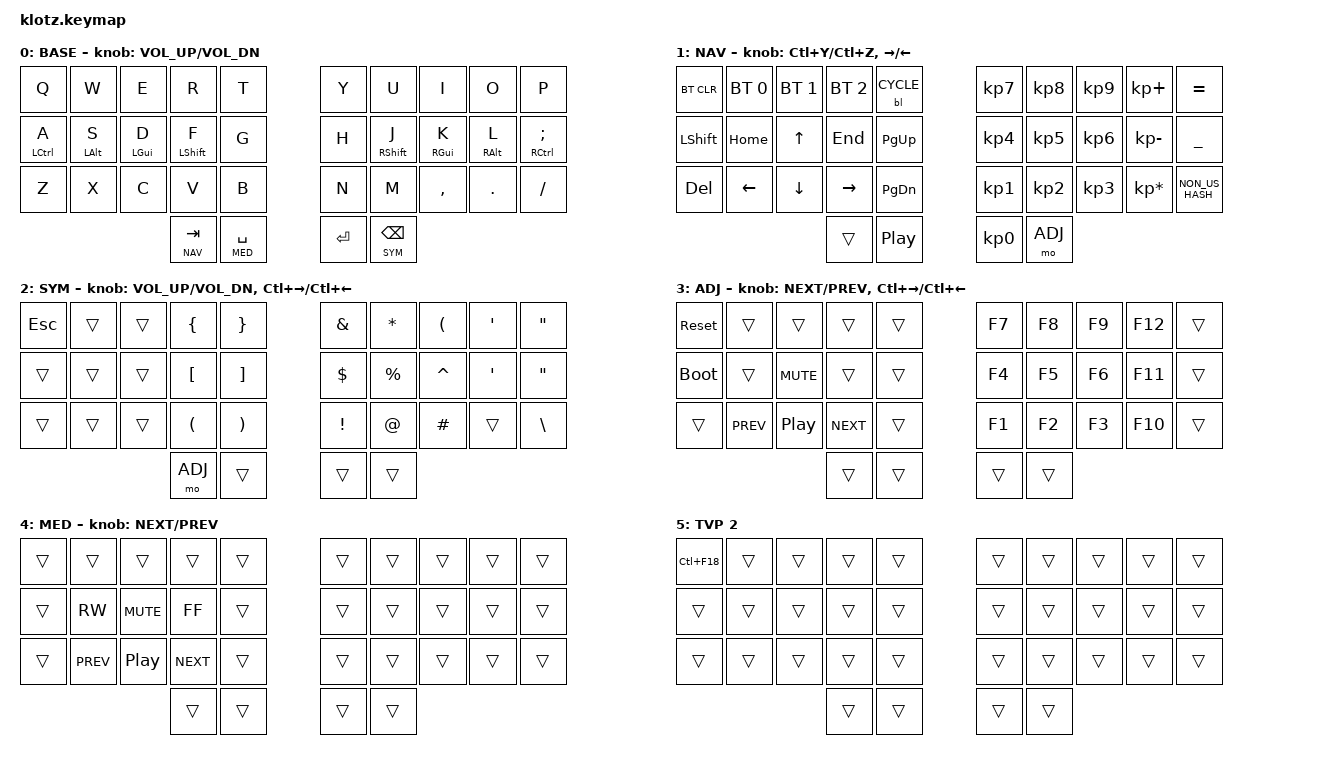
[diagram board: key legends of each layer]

//                                      █         ██        ▄▀▀▀▀▀▀▀▀▀▀█▀▀▀▀▀▀▀▀█▀▀▀▀▀▀▀▀▀▀█
//                                      █        █ █      ▄▀            ▀▄      █         █
//                                      █       █  █    ▄▀                ▀▄    █        █
//                                      █      █   █   █                    █   █       █
//                                      █     █    █   █                    █   █      █
//                                      █    █     █   █                    █   █  ▀▀▀█▀▀▀▀
//                                      █   █ █    █   █                    █   █    █
//                                      █  █   █   █   █                    █   █   █
//                                      █ █     █  █    ▀▄                ▄▀    █  █
//                                      ██       █ █      ▀▄            ▄▀      █ █
//                                      █         ██▄▄▄▄▄▄▄▄█▄▄▄▄▄▄▄▄▄▄▀        ██▄▄▄▄▄▄▄▄▄▄
//
// ▄▄▄▄▄▄▄▄▄▄▄▄▄▄▄▄▄▄▄▄▄▄▄▄▄▄▄▄▄▄▄▄▄▄▄▄▄▄▄▄▄▄▄▄▄▄▄▄▄▄▄▄▄▄▄▄▄▄▄▄▄▄▄▄▄▄▄▄▄▄▄▄▄▄▄▄▄▄▄▄▄▄▄▄▄▄▄▄▄▄▄▄▄▄▄▄▄▄▄▄▄▄▄▄▄▄▄▄▄▄▄▄▄▄▄▄▄▄▄▄▄▄▄▄▄
       

#include <behaviors.dtsi>
#include <dt-bindings/zmk/keys.h>
#include <dt-bindings/zmk/bt.h>
#include <dt-bindings/zmk/outputs.h>
#include <dt-bindings/zmk/backlight.h>

#define BASE 0
#define NAV  1
#define SYM  2
#define ADJ  3
#define MED  4
#define TVP2 5

&mt {
  quick-tap-ms = <100>;
  global-quick-tap;
  flavor = "tap-preferred";
  tapping-term-ms = <170>;
};

/ {
     combos {
            compatible = "zmk,combos";
            combo_esc {
                timeout-ms = <50>;
                key-positions = <0 1>;
                bindings = <&kp ESC>;
            };
            combo_tvp {
                timeout-ms = <100>;
                key-positions = <11 12 13>;
                bindings = <&tog TVP2>;
            };
    };

    macros {
        gif: gif {
            label = "giphy";
            compatible = "zmk,behavior-macro";
            #binding-cells = <0>;
            bindings
                = <&macro_press &kp LSHFT>
                , <&macro_tap &kp N2>
                , <&macro_release &kp LSHFT>
                , <&macro_tap &kp G &kp I &kp F>
                ;
        };
    };

        keymap {
                compatible = "zmk,keymap";
// ▄▄▄▄▄▄▄▄▄▄▄▄▄▄▄▄▄▄▄▄▄▄▄▄▄▄▄▄▄▄▄▄▄▄▄▄▄▄▄▄▄▄▄▄▄▄▄▄▄▄▄▄▄▄▄▄▄▄▄▄▄▄▄▄▄▄▄▄▄▄▄▄▄▄▄▄▄▄▄▄▄▄▄▄▄▄▄▄▄▄▄▄▄▄▄▄▄▄▄▄▄▄▄▄▄▄▄▄▄▄▄▄▄▄▄▄▄▄▄▄▄▄▄▄▄


                base_layer {
// ┏━━━━━━━━━━━━━━━━━━━━━━━━━━━━━━━━━━━━━━━┓
label= "BASE"                              ;
// ┗━━━━━━━━━━━━━━━━━━━━━━━━━━━━━━━━━━━━━━━┛
// ┏━━━━━━━━━━━┳━━━━━━━━━━━┳━━━━━━━━━━━┳━━━━━━━━━━━┳━━━━━━━━━━━┓   ┏━━━━━━━━━━━┳━━━━━━━━━━━┳━━━━━━━━━━━┳━━━━━━━━━━━┳━━━━━━━━━━━┓
// ┃     Q     ┃     W     ┃     E     ┃     R     ┃     T     ┃   ┃     Y     ┃     U     ┃     I     ┃     O     ┃     P     ┃
// ┣━━━━━━━━━━━╋━━━━━━━━━━━╋━━━━━━━━━━━╋━━━━━━━━━━━╋━━━━━━━━━━━┫   ┣━━━━━━━━━━━╋━━━━━━━━━━━╋━━━━━━━━━━━╋━━━━━━━━━━━╋━━━━━━━━━━━┫
// ┃     A     ┃     S     ┃     D     ┃     F     ┃     G     ┃   ┃     H     ┃     J     ┃     K     ┃     L     ┃     ;     ┃
// ┣━━━━━━━━━━━╋━━━━━━━━━━━╋━━━━━━━━━━━╋━━━━━━━━━━━╋━━━━━━━━━━━┫   ┣━━━━━━━━━━━╋━━━━━━━━━━━╋━━━━━━━━━━━╋━━━━━━━━━━━╋━━━━━━━━━━━┫
// ┃     Z     ┃     X     ┃     C     ┃     V     ┃     B     ┃   ┃     N     ┃     M     ┃     ,     ┃     .     ┃     /     ┃
// ┗━━━━━━━━━━━┻━━━━━━━━━━━┻━━━━━━━━━━━╋━━━━━━━━━━━╋━━━━━━━━━━━┫   ┣━━━━━━━━━━━╋━━━━━━━━━━━╋━━━━━━━━━━━┻━━━━━━━━━━━┻━━━━━━━━━━━┛
//                                     ┃    TAB    ┃    SPC    ┃   ┃   ENTER   ┃   BSPC    ┃
//                                     ┗━━━━━━━━━━━┻━━━━━━━━━━━┛   ┗━━━━━━━━━━━┻━━━━━━━━━━━┛
 bindings = <
// ╷           ╷           ╷           ╷           ╷           ╷   ╷           ╷           ╷           ╷           ╷           ╷

    &kp Q       &kp W       &kp E       &kp R       &kp T           &kp Y       &kp U       &kp I       &kp O       &kp P
    &mt LCTRL A &mt LALT S  &mt LGUI D  &mt LSHFT F &kp G           &kp H       &mt RSHFT J &mt RGUI K  &mt RALT L  &mt RCTRL SEMI
    &kp Z       &kp X       &kp C       &kp V       &kp B           &kp N       &kp M       &kp COMMA   &kp DOT     &kp FSLH
                                        &lt NAV TAB &lt MED SPACE       &kp RET &lt SYM BSPC    
                        >;
            sensor-bindings = <&inc_dec_kp C_VOL_UP C_VOL_DN>;
                };

// ▄▄▄▄▄▄▄▄▄▄▄▄▄▄▄▄▄▄▄▄▄▄▄▄▄▄▄▄▄▄▄▄▄▄▄▄▄▄▄▄▄▄▄▄▄▄▄▄▄▄▄▄▄▄▄▄▄▄▄▄▄▄▄▄▄▄▄▄▄▄▄▄▄▄▄▄▄▄▄▄▄▄▄▄▄▄▄▄▄▄▄▄▄▄▄▄▄▄▄▄▄▄▄▄▄▄▄▄▄▄▄▄▄▄▄▄▄▄▄▄▄▄▄▄▄


                nav_layer {
// ┏━━━━━━━━━━━━━━━━━━━━━━━━━━━━━━━━━━━━━━━┓
label= "NAV"                              ;
// ┗━━━━━━━━━━━━━━━━━━━━━━━━━━━━━━━━━━━━━━━┛
// ┏━━━━━━━━━━━┳━━━━━━━━━━━┳━━━━━━━━━━━┳━━━━━━━━━━━┳━━━━━━━━━━━┓   ┏━━━━━━━━━━━┳━━━━━━━━━━━┳━━━━━━━━━━━┳━━━━━━━━━━━┳━━━━━━━━━━━┓
// ┃  BT CLR   ┃  BT 1     ┃   BT 2    ┃   BT 3    ┃ LED CYCLE ┃   ┃     7     ┃     8     ┃     9     ┃     +     ┃     =     ┃
// ┣━━━━━━━━━━━╋━━━━━━━━━━━╋━━━━━━━━━━━╋━━━━━━━━━━━╋━━━━━━━━━━━┫   ┣━━━━━━━━━━━╋━━━━━━━━━━━╋━━━━━━━━━━━╋━━━━━━━━━━━╋━━━━━━━━━━━┫
// ┃   SHIFT   ┃   HOME    ┃     UP    ┃    END    ┃   PG UP   ┃   ┃     4     ┃     5     ┃     6     ┃     -     ┃     _     ┃
// ┣━━━━━━━━━━━╋━━━━━━━━━━━╋━━━━━━━━━━━╋━━━━━━━━━━━╋━━━━━━━━━━━┫   ┣━━━━━━━━━━━╋━━━━━━━━━━━╋━━━━━━━━━━━╋━━━━━━━━━━━╋━━━━━━━━━━━┫
// ┃    DEL    ┃   LEFT    ┃   DOWN    ┃   RIGHT   ┃  PG DOWN  ┃   ┃     1     ┃     2     ┃     3     ┃     *     ┃     #     ┃
// ┗━━━━━━━━━━━┻━━━━━━━━━━━┻━━━━━━━━━━━╋━━━━━━━━━━━╋━━━━━━━━━━━┫   ┣━━━━━━━━━━━╋━━━━━━━━━━━╋━━━━━━━━━━━┻━━━━━━━━━━━┻━━━━━━━━━━━┛
//                                     ┃           ┃PLAY/PAUSE ┃   ┃    0      ┃     ADJ   ┃  
//                                     ┗━━━━━━━━━━━┻━━━━━━━━━━━┛   ┗━━━━━━━━━━━┻━━━━━━━━━━━┛
 bindings = <
// ╷            ╷            ╷           ╷            ╷           ╷    ╷           ╷           ╷           ╷               ╷              ╷

    &bt BT_CLR  &bt BT_SEL 0 &bt BT_SEL 1 &bt BT_SEL 2 &bl BL_CYCLE     &kp KP_N7   &kp KP_N8   &kp KP_N9   &kp KP_PLUS     &kp EQUAL
    &kp LSHFT   &kp HOME     &kp UP       &kp END      &kp PG_UP        &kp KP_N4   &kp KP_N5   &kp KP_N6   &kp KP_MINUS    &kp UNDER
    &kp DEL     &kp LEFT     &kp DOWN     &kp RIGHT    &kp PG_DN        &kp KP_N1   &kp KP_N2   &kp KP_N3   &kp KP_MULTIPLY &kp NON_US_HASH
                                        &trans      &kp C_PP          &kp KP_N0   &mo ADJ     
                        >;
            sensor-bindings = <&inc_dec_kp LC(Y) LC(Z) &inc_dec_kp RIGHT LEFT>;
                };

// ▄▄▄▄▄▄▄▄▄▄▄▄▄▄▄▄▄▄▄▄▄▄▄▄▄▄▄▄▄▄▄▄▄▄▄▄▄▄▄▄▄▄▄▄▄▄▄▄▄▄▄▄▄▄▄▄▄▄▄▄▄▄▄▄▄▄▄▄▄▄▄▄▄▄▄▄▄▄▄▄▄▄▄▄▄▄▄▄▄▄▄▄▄▄▄▄▄▄▄▄▄▄▄▄▄▄▄▄▄▄▄▄▄▄▄▄▄▄▄▄▄▄▄▄▄


                sym_layer {
// ┏━━━━━━━━━━━━━━━━━━━━━━━━━━━━━━━━━━━━━━━┓
label= "SYM"                               ;
// ┗━━━━━━━━━━━━━━━━━━━━━━━━━━━━━━━━━━━━━━━┛
// ┏━━━━━━━━━━━┳━━━━━━━━━━━┳━━━━━━━━━━━┳━━━━━━━━━━━┳━━━━━━━━━━━┓   ┏━━━━━━━━━━━┳━━━━━━━━━━━┳━━━━━━━━━━━┳━━━━━━━━━━━┳━━━━━━━━━━━┓
// ┃    ESC    ┃           ┃           ┃     {     ┃     }     ┃   ┃     &     ┃     *     ┃     (     ┃     '     ┃     "     ┃
// ┣━━━━━━━━━━━╋━━━━━━━━━━━╋━━━━━━━━━━━╋━━━━━━━━━━━╋━━━━━━━━━━━┫   ┣━━━━━━━━━━━╋━━━━━━━━━━━╋━━━━━━━━━━━╋━━━━━━━━━━━╋━━━━━━━━━━━┫
// ┃           ┃           ┃           ┃     [     ┃     ]     ┃   ┃     $     ┃     %     ┃      ^    ┃          ┃           ┃
// ┣━━━━━━━━━━━╋━━━━━━━━━━━╋━━━━━━━━━━━╋━━━━━━━━━━━╋━━━━━━━━━━━┫   ┣━━━━━━━━━━━╋━━━━━━━━━━━╋━━━━━━━━━━━╋━━━━━━━━━━━╋━━━━━━━━━━━┫
// ┃           ┃           ┃           ┃     (     ┃     )     ┃   ┃     !     ┃     @     ┃      £    ┃           ┃     \     ┃
// ┗━━━━━━━━━━━┻━━━━━━━━━━━┻━━━━━━━━━━━╋━━━━━━━━━━━╋━━━━━━━━━━━┫   ┣━━━━━━━━━━━╋━━━━━━━━━━━╋━━━━━━━━━━━┻━━━━━━━━━━━┻━━━━━━━━━━━┛
//                                     ┃   ADJUST  ┃           ┃   ┃           ┃           ┃   
//                                     ┗━━━━━━━━━━━┻━━━━━━━━━━━┛   ┗━━━━━━━━━━━┻━━━━━━━━━━━┛
 bindings = <
// ╷           ╷           ╷           ╷           ╷           ╷   ╷           ╷           ╷           ╷           ╷           ╷

   &kp ESC     &trans      &trans      &kp LBRC    &kp RBRC        &kp AMPS    &kp STAR    &kp LPAR    &kp SQT     &kp DQT       
   &trans      &trans      &trans      &kp LBKT    &kp RBKT        &kp DLLR    &kp PRCNT   &kp CARET   &kp SQT     &kp DQT 
   &trans      &trans      &trans      &kp LPAR    &kp RPAR        &kp EXCL    &kp AT      &kp HASH    &trans      &kp BSLH      
                                       &mo ADJ     &trans          &trans      &trans
                        >;
                sensor-bindings = <&inc_dec_kp C_VOL_UP C_VOL_DN &inc_dec_kp LC(RIGHT) LC(LEFT)>;
                };

// ▄▄▄▄▄▄▄▄▄▄▄▄▄▄▄▄▄▄▄▄▄▄▄▄▄▄▄▄▄▄▄▄▄▄▄▄▄▄▄▄▄▄▄▄▄▄▄▄▄▄▄▄▄▄▄▄▄▄▄▄▄▄▄▄▄▄▄▄▄▄▄▄▄▄▄▄▄▄▄▄▄▄▄▄▄▄▄▄▄▄▄▄▄▄▄▄▄▄▄▄▄▄▄▄▄▄▄▄▄▄▄▄▄▄▄▄▄▄▄▄▄▄▄▄▄


                adjust_layer {
// ┏━━━━━━━━━━━━━━━━━━━━━━━━━━━━━━━━━━━━━━━┓
label= "ADJ"                               ;
// ┗━━━━━━━━━━━━━━━━━━━━━━━━━━━━━━━━━━━━━━━┛
// ┏━━━━━━━━━━━┳━━━━━━━━━━━┳━━━━━━━━━━━┳━━━━━━━━━━━┳━━━━━━━━━━━┓   ┏━━━━━━━━━━━┳━━━━━━━━━━━┳━━━━━━━━━━━┳━━━━━━━━━━━┳━━━━━━━━━━━┓
// ┃   RESET   ┃           ┃           ┃           ┃           ┃   ┃    F7     ┃    F8     ┃    F9     ┃    F12    ┃           ┃
// ┣━━━━━━━━━━━╋━━━━━━━━━━━╋━━━━━━━━━━━╋━━━━━━━━━━━╋━━━━━━━━━━━┫   ┣━━━━━━━━━━━╋━━━━━━━━━━━╋━━━━━━━━━━━╋━━━━━━━━━━━╋━━━━━━━━━━━┫
// ┃ BOOTLOAD  ┃           ┃   MUTE    ┃           ┃           ┃   ┃    F4     ┃    F5     ┃    F6     ┃    F11    ┃           ┃
// ┣━━━━━━━━━━━╋━━━━━━━━━━━╋━━━━━━━━━━━╋━━━━━━━━━━━╋━━━━━━━━━━━┫   ┣━━━━━━━━━━━╋━━━━━━━━━━━╋━━━━━━━━━━━╋━━━━━━━━━━━╋━━━━━━━━━━━┫
// ┃           ┃  PREVIOUS ┃ PLAYPAUSE ┃   NEXT    ┃           ┃   ┃    F1     ┃    F2     ┃    F3     ┃    F10    ┃           ┃
// ┗━━━━━━━━━━━┻━━━━━━━━━━━┻━━━━━━━━━━━╋━━━━━━━━━━━╋━━━━━━━━━━━┫   ┣━━━━━━━━━━━╋━━━━━━━━━━━╋━━━━━━━━━━━┻━━━━━━━━━━━┻━━━━━━━━━━━┛
//                                     ┃           ┃           ┃   ┃           ┃           ┃
//                                     ┗━━━━━━━━━━━┻━━━━━━━━━━━┛   ┗━━━━━━━━━━━┻━━━━━━━━━━━┛
 bindings = <
// ╷            ╷          ╷          ╷          ╷           ╷   ╷           ╷           ╷           ╷           ╷           ╷

    &sys_reset  &trans     &trans     &trans      &trans          &kp F7      &kp F8      &kp F9      &kp F12     &trans
    &bootloader &trans     &kp C_MUTE &trans      &trans          &kp F4      &kp F5      &kp F6      &kp F11     &trans
    &trans      &kp C_PREV &kp C_PP   &kp C_NEXT  &trans          &kp F1      &kp F2      &kp F3      &kp F10     &trans     
                                      &trans      &trans          &trans      &trans
                        >;
            sensor-bindings = <&inc_dec_kp C_NEXT C_PREV &inc_dec_kp LC(RIGHT) LC(LEFT)>;
                };

// ▄▄▄▄▄▄▄▄▄▄▄▄▄▄▄▄▄▄▄▄▄▄▄▄▄▄▄▄▄▄▄▄▄▄▄▄▄▄▄▄▄▄▄▄▄▄▄▄▄▄▄▄▄▄▄▄▄▄▄▄▄▄▄▄▄▄▄▄▄▄▄▄▄▄▄▄▄▄▄▄▄▄▄▄▄▄▄▄▄▄▄▄▄▄▄▄▄▄▄▄▄▄▄▄▄▄▄▄▄▄▄▄▄▄▄▄▄▄▄▄▄▄▄▄▄



                media_layer {
// ┏━━━━━━━━━━━━━━━━━━━━━━━━━━━━━━━━━━━━━━━┓
label= "MED"                               ;
// ┗━━━━━━━━━━━━━━━━━━━━━━━━━━━━━━━━━━━━━━━┛
// ┏━━━━━━━━━━━┳━━━━━━━━━━━┳━━━━━━━━━━━┳━━━━━━━━━━━┳━━━━━━━━━━━┓   ┏━━━━━━━━━━━┳━━━━━━━━━━━┳━━━━━━━━━━━┳━━━━━━━━━━━┳━━━━━━━━━━━┓
// ┃           ┃           ┃           ┃           ┃           ┃   ┃           ┃           ┃           ┃           ┃           ┃
// ┣━━━━━━━━━━━╋━━━━━━━━━━━╋━━━━━━━━━━━╋━━━━━━━━━━━╋━━━━━━━━━━━┫   ┣━━━━━━━━━━━╋━━━━━━━━━━━╋━━━━━━━━━━━╋━━━━━━━━━━━╋━━━━━━━━━━━┫
// ┃           ┃  REWIND   ┃   MUTE    ┃ F FORWARD ┃           ┃   ┃           ┃           ┃           ┃           ┃           ┃
// ┣━━━━━━━━━━━╋━━━━━━━━━━━╋━━━━━━━━━━━╋━━━━━━━━━━━╋━━━━━━━━━━━┫   ┣━━━━━━━━━━━╋━━━━━━━━━━━╋━━━━━━━━━━━╋━━━━━━━━━━━╋━━━━━━━━━━━┫
// ┃           ┃  PREVIOUS ┃ PLAYPAUSE ┃   NEXT    ┃           ┃   ┃           ┃           ┃           ┃           ┃           ┃
// ┗━━━━━━━━━━━┻━━━━━━━━━━━┻━━━━━━━━━━━╋━━━━━━━━━━━╋━━━━━━━━━━━┫   ┣━━━━━━━━━━━╋━━━━━━━━━━━╋━━━━━━━━━━━┻━━━━━━━━━━━┻━━━━━━━━━━━┛
//                                     ┃           ┃           ┃   ┃           ┃           ┃
//                                     ┗━━━━━━━━━━━┻━━━━━━━━━━━┛   ┗━━━━━━━━━━━┻━━━━━━━━━━━┛
 bindings = <
// ╷            ╷          ╷          ╷          ╷           ╷   ╷           ╷           ╷           ╷           ╷           ╷

    &trans      &trans     &trans     &trans      &trans          &trans     &trans      &trans      &trans       &trans
    &trans      &kp C_RW   &kp C_MUTE &kp C_FF    &trans          &trans     &trans      &trans      &trans       &trans
    &trans      &kp C_PREV &kp C_PP   &kp C_NEXT  &trans          &trans     &trans      &trans      &trans       &trans     
                                      &trans      &trans          &trans     &trans
                        >;
            sensor-bindings = <&inc_dec_kp C_NEXT C_PREV>;
                };

// ▄▄▄▄▄▄▄▄▄▄▄▄▄▄▄▄▄▄▄▄▄▄▄▄▄▄▄▄▄▄▄▄▄▄▄▄▄▄▄▄▄▄▄▄▄▄▄▄▄▄▄▄▄▄▄▄▄▄▄▄▄▄▄▄▄▄▄▄▄▄▄▄▄▄▄▄▄▄▄▄▄▄▄▄▄▄▄▄▄▄▄▄▄▄▄▄▄▄▄▄▄▄▄▄▄▄▄▄▄▄▄▄▄▄▄▄▄▄▄▄▄▄▄▄▄


                tvp2_layer {
// ┏━━━━━━━━━━━━━━━━━━━━━━━━━━━━━━━━━━━━━━━┓
label= "TVP 2"                             ;
// ┗━━━━━━━━━━━━━━━━━━━━━━━━━━━━━━━━━━━━━━━┛
// ┏━━━━━━━━━━━┳━━━━━━━━━━━┳━━━━━━━━━━━┳━━━━━━━━━━━┳━━━━━━━━━━━┓   ┏━━━━━━━━━━━┳━━━━━━━━━━━┳━━━━━━━━━━━┳━━━━━━━━━━━┳━━━━━━━━━━━┓
// ┃ SOLO      ┃           ┃           ┃           ┃           ┃   ┃           ┃           ┃           ┃           ┃           ┃
// ┣━━━━━━━━━━━╋━━━━━━━━━━━╋━━━━━━━━━━━╋━━━━━━━━━━━╋━━━━━━━━━━━┫   ┣━━━━━━━━━━━╋━━━━━━━━━━━╋━━━━━━━━━━━╋━━━━━━━━━━━╋━━━━━━━━━━━┫
// ┃           ┃           ┃           ┃           ┃           ┃   ┃           ┃           ┃           ┃           ┃           ┃
// ┣━━━━━━━━━━━╋━━━━━━━━━━━╋━━━━━━━━━━━╋━━━━━━━━━━━╋━━━━━━━━━━━┫   ┣━━━━━━━━━━━╋━━━━━━━━━━━╋━━━━━━━━━━━╋━━━━━━━━━━━╋━━━━━━━━━━━┫
// ┃           ┃           ┃           ┃           ┃           ┃   ┃           ┃           ┃           ┃           ┃           ┃
// ┗━━━━━━━━━━━┻━━━━━━━━━━━┻━━━━━━━━━━━╋━━━━━━━━━━━╋━━━━━━━━━━━┫   ┣━━━━━━━━━━━╋━━━━━━━━━━━╋━━━━━━━━━━━┻━━━━━━━━━━━┻━━━━━━━━━━━┛
//                                     ┃           ┃           ┃   ┃           ┃           ┃
//                                     ┗━━━━━━━━━━━┻━━━━━━━━━━━┛   ┗━━━━━━━━━━━┻━━━━━━━━━━━┛
 bindings = <
// ╷           ╷           ╷           ╷           ╷           ╷   ╷           ╷           ╷           ╷           ╷           ╷

    &kp LC(F18) &trans      &trans      &trans      &trans          &trans     &trans      &trans      &trans       &trans
    &trans      &trans      &trans      &trans      &trans          &trans     &trans      &trans      &trans       &trans
    &trans      &trans      &trans      &trans      &trans          &trans     &trans      &trans      &trans       &trans
                                        &trans      &trans          &trans     &trans
                          >;
                };
        };
};
